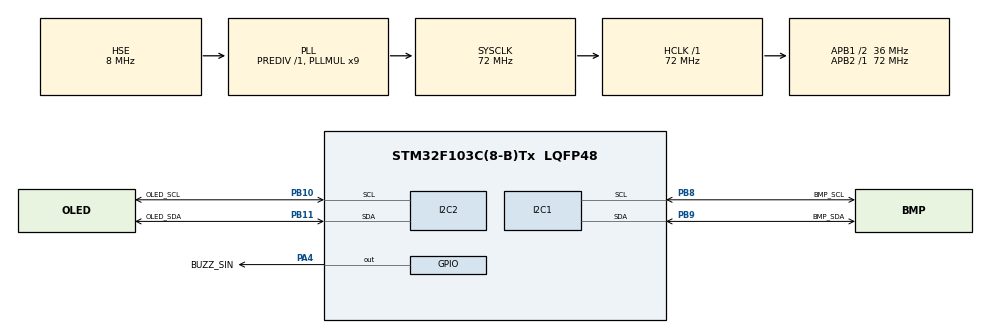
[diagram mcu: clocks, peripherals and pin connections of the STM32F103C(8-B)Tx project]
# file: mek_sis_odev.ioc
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I2C2.I2C_Mode=I2C_Fast
Mcu.Family=STM32F1
Mcu.Name=STM32F103C(8-B)Tx
Mcu.Package=LQFP48
NVIC.PriorityGroup=NVIC_PRIORITYGROUP_4
PA13.Mode=Serial_Wire
PA13.Signal=SYS_JTMS-SWDIO
PA14.Mode=Serial_Wire
PA14.Signal=SYS_JTCK-SWCLK
PA4.GPIO_Label=BUZZ_SIN
PA4.Signal=GPIO_Output
PB10.GPIO_Label=OLED_SCL
PB10.Mode=I2C
PB10.Signal=I2C2_SCL
PB11.GPIO_Label=OLED_SDA
PB11.Mode=I2C
PB11.Signal=I2C2_SDA
PB8.GPIO_Label=BMP_SCL
PB8.Mode=I2C
PB8.Signal=I2C1_SCL
PB9.GPIO_Label=BMP_SDA
PB9.Mode=I2C
PB9.Signal=I2C1_SDA
PD0-OSC_IN.Mode=HSE-External-Oscillator
PD0-OSC_IN.Signal=RCC_OSC_IN
PD1-OSC_OUT.Mode=HSE-External-Oscillator
PD1-OSC_OUT.Signal=RCC_OSC_OUT
ProjectManager.HeapSize=0x200
ProjectManager.StackSize=0x400
ProjectManager.TargetToolchain=STM32CubeIDE
RCC.ADCPresc=RCC_ADCPCLK2_DIV6
RCC.AHBFreq_Value=72000000
RCC.APB1CLKDivider=RCC_HCLK_DIV2
RCC.APB1Freq_Value=36000000
RCC.APB1TimFreq_Value=72000000
RCC.APB2Freq_Value=72000000
RCC.APB2TimFreq_Value=72000000
RCC.HCLKFreq_Value=72000000
RCC.PLLMUL=RCC_PLL_MUL9
RCC.PLLSourceVirtual=RCC_PLLSOURCE_HSE
RCC.SYSCLKFreq_VALUE=72000000
RCC.SYSCLKSource=RCC_SYSCLKSOURCE_PLLCLK
RCC.USBFreq_Value=72000000
board=custom

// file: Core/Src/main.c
/* USER CODE BEGIN Header */
/**
  ******************************************************************************
  * @file           : main.c
  * @brief          : Main program body
  ******************************************************************************
  * @attention
  *
  * Copyright (c) 2024 STMicroelectronics.
  * All rights reserved.
  *
  * This software is licensed under terms that can be found in the LICENSE file
  * in the root directory of this software component.
  * If no LICENSE file comes with this software, it is provided AS-IS.
  *
  ******************************************************************************
  */
/* USER CODE END Header */
#include "main.h"
#include "i2c.h"
#include "gpio.h"

/* USER CODE BEGIN Includes */
#include "bmp180.h"
#include "oled.h"
#include "fonts.h"
#include <stdio.h>
#include "string.h"
#include <math.h>
/* USER CODE END Includes */

void SystemClock_Config(void);

/* USER CODE BEGIN 0 */
float irtifa, irtifa1;
int s = 0;
/* USER CODE END 0 */

int main(void)
{
  /* USER CODE BEGIN 1 */
	char i[10];
  /* USER CODE END 1 */

  /* MCU Configuration--------------------------------------------------------*/

  /* Reset of all peripherals, Initializes the Flash interface and the Systick. */
  HAL_Init();

  /* Configure the system clock */
  SystemClock_Config();

  /* Initialize all configured peripherals */
  MX_GPIO_Init();
  MX_I2C1_Init();
  MX_I2C2_Init();
  /* USER CODE BEGIN 2 */
  BMP180_Init(&hi2c1);
  BMP180_SetOversampling(BMP180_ULTRA);

  // Kalibrasyon datasını yükle.
  BMP180_UpdateCalibrationData();

  SSD1306_Init ();

  SSD1306_GotoXY(20,0);
  SSD1306_Puts("bum", &Font_11x18, 1);
  SSD1306_UpdateScreen();

  irtifa1 = BMP180_GetAlt(); // deniz seviyesini referansı için bir kerelik veri alınır
  /* USER CODE END 2 */

  /* Infinite loop */
  /* USER CODE BEGIN WHILE */
  while (1)
  {
	  // deniz seviyesini çıkartıp saf irtifayı hesaplamak için kullanılacak formül:
	  irtifa = BMP180_GetAlt() - irtifa1;

	  sprintf(i, "%.2f", irtifa);

	  if (s % 5==0){
	  SSD1306_GotoXY(20,40);
	  SSD1306_Puts(i, &Font_11x18, 1);
	  SSD1306_GotoXY(85, 40);
	  SSD1306_Puts(" m", &Font_11x18, 1);
	  SSD1306_UpdateScreen();
	  }
	  if(irtifa < -30){ //irtifa değerimiz -30 m'den az olduğunda uyarı için buzzer öter
		  HAL_GPIO_WritePin(GPIOA, GPIO_PIN_4, 1);
	  }
	  HAL_Delay(200);
	  HAL_GPIO_WritePin(GPIOA, GPIO_PIN_4, 0);
	  s++;

	  /*SSD1306_GotoXY(20,0);
	  SSD1306_Puts("SICAKLIK", &Font_11x18, 1);
	  SSD1306_GotoXY(20,40);
	  SSD1306_Puts(s, &Font_11x18, 1);
	  SSD1306_DrawCircle(80, 40, 2, 1);
	  SSD1306_GotoXY(85, 40);
	  SSD1306_Puts("C", &Font_11x18, 1);
	  SSD1306_UpdateScreen();
	  HAL_Delay(1000);
	  SSD1306_Clear();

	  SSD1306_GotoXY(20,0);
	  SSD1306_Puts("BASINC", &Font_11x18, 1);
	  SSD1306_GotoXY(20,40);
	  SSD1306_Puts(p, &Font_11x18, 1);
	  SSD1306_GotoXY(85, 40);
	  SSD1306_Puts(" hPa", &Font_11x18, 1);
	  SSD1306_UpdateScreen();
	  HAL_Delay(1000);
	  SSD1306_Clear();*/
    /* USER CODE END WHILE */

  }
}

void SystemClock_Config(void)
{
  RCC_OscInitTypeDef RCC_OscInitStruct = {0};
  RCC_ClkInitTypeDef RCC_ClkInitStruct = {0};

  /** Initializes the RCC Oscillators according to the specified parameters
  * in the RCC_OscInitTypeDef structure.
  */
  RCC_OscInitStruct.OscillatorType = RCC_OSCILLATORTYPE_HSE;
  RCC_OscInitStruct.HSEState = RCC_HSE_ON;
  RCC_OscInitStruct.HSEPredivValue = RCC_HSE_PREDIV_DIV1;
  RCC_OscInitStruct.HSIState = RCC_HSI_ON;
  RCC_OscInitStruct.PLL.PLLState = RCC_PLL_ON;
  RCC_OscInitStruct.PLL.PLLSource = RCC_PLLSOURCE_HSE;
  RCC_OscInitStruct.PLL.PLLMUL = RCC_PLL_MUL9;
  if (HAL_RCC_OscConfig(&RCC_OscInitStruct) != HAL_OK)
  {
    Error_Handler();
  }

  /** Initializes the CPU, AHB and APB buses clocks
  */
  RCC_ClkInitStruct.ClockType = RCC_CLOCKTYPE_HCLK|RCC_CLOCKTYPE_SYSCLK
                              |RCC_CLOCKTYPE_PCLK1|RCC_CLOCKTYPE_PCLK2;
  RCC_ClkInitStruct.SYSCLKSource = RCC_SYSCLKSOURCE_PLLCLK;
  RCC_ClkInitStruct.AHBCLKDivider = RCC_SYSCLK_DIV1;
  RCC_ClkInitStruct.APB1CLKDivider = RCC_HCLK_DIV2;
  RCC_ClkInitStruct.APB2CLKDivider = RCC_HCLK_DIV1;

  if (HAL_RCC_ClockConfig(&RCC_ClkInitStruct, FLASH_LATENCY_2) != HAL_OK)
  {
    Error_Handler();
  }
}

void Error_Handler(void)
{
  __disable_irq();
  while (1)
  {
  }
}
